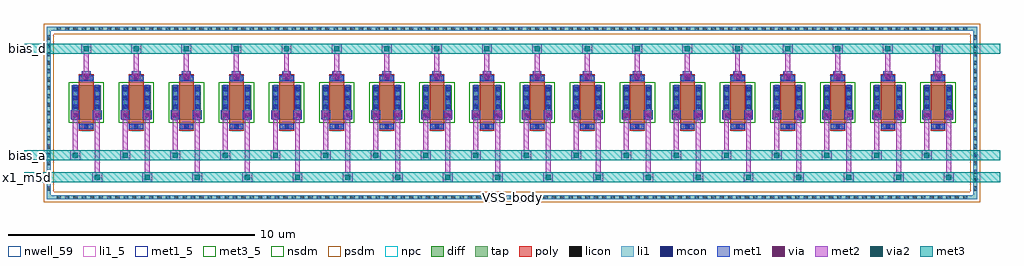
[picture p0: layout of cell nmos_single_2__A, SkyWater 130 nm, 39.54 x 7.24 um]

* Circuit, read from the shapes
.subckt nmos_single_2__A VSS_body bias_a bias_d x1_m5d
XM1 x1_m5d bias_d bias_a VSS_body sky130_fd_pr__nfet_01v8 w=1.4 l=0.6 m=18
.ends

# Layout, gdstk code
import gdstk
lib = gdstk.Library(unit=1e-6, precision=1e-09)
def R(c, l, rs):  # rectangles x0, y0, x1, y1
    for r in rs: c.add(gdstk.rectangle(r[:2], r[2:], *l))
def A(c, l, x, y, w, h, nx, ny, dx, dy):  # array of equal rectangles
    R(c, l, [(x+i*dx, y+j*dy, x+i*dx+w, y+j*dy+h) for i in range(nx) for j in range(ny)])
nwell_59 = (64, 59)
diff = (65, 20)
tap = (65, 44)
poly = (66, 20)
licon = (66, 44)
li1_5 = (67, 5)
li1 = (67, 20)
mcon = (67, 44)
met1_5 = (68, 5)
met1 = (68, 20)
via = (68, 44)
met2 = (69, 20)
via2 = (69, 44)
met3_5 = (70, 5)
met3 = (70, 20)
nsdm = (93, 44)
psdm = (94, 20)
npc = (95, 20)

sky130_fd_pr__nfet_01v8_ = lib.new_cell('sky130_fd_pr__nfet_01v8_KCM6UP')
R(sky130_fd_pr__nfet_01v8_, diff, [(-0.59,-0.7,0.59,0.7)])
R(sky130_fd_pr__nfet_01v8_, poly, [(-0.3,-1.14,0.3,1.14)])
A(sky130_fd_pr__nfet_01v8_, licon, -0.53, -0.595, 0.17, 0.17, 1, 4, 0, 0.34)
A(sky130_fd_pr__nfet_01v8_, licon, 0.36, -0.595, 0.17, 0.17, 1, 4, 0, 0.34)
R(sky130_fd_pr__nfet_01v8_, licon, [(-0.085,-1.06,0.085,-0.89), (-0.085,0.89,0.085,1.06)])
R(sky130_fd_pr__nfet_01v8_, li1, [(-0.3,-1.06,0.3,-0.89), (-0.53,-0.72,-0.36,0.72), (0.36,-0.72,0.53,0.72), (-0.3,0.89,0.3,1.06)])
A(sky130_fd_pr__nfet_01v8_, mcon, -0.53, -0.625, 0.17, 0.17, 1, 4, 0, 0.36)
A(sky130_fd_pr__nfet_01v8_, mcon, 0.36, -0.625, 0.17, 0.17, 1, 4, 0, 0.36)
R(sky130_fd_pr__nfet_01v8_, mcon, [(-0.085,-1.06,0.085,-0.89), (-0.085,0.89,0.085,1.06)])
R(sky130_fd_pr__nfet_01v8_, met1, [(-0.28,-1.09,0.28,-0.86), (-0.56,-0.7,-0.33,0.7), (0.33,-0.7,0.56,0.7), (-0.28,0.86,0.28,1.09)])
R(sky130_fd_pr__nfet_01v8_, nsdm, [(-0.715,-0.825,0.715,0.825)])
R(sky130_fd_pr__nfet_01v8_, npc, [(-0.185,-1.16,0.185,-0.79), (-0.185,0.79,0.185,1.16)])
sky130_fd_pr__nfet_01v8_.add(gdstk.Label('D', (-0.445,0), layer=67, texttype=5))
sky130_fd_pr__nfet_01v8_.add(gdstk.Label('S', (0.445,0), layer=67, texttype=5))
sky130_fd_pr__nfet_01v8_.add(gdstk.Label('G', (0,0.975), layer=67, texttype=5))

nfet_01v8_w1p4_l0p6_m18_ = lib.new_cell('nfet_01v8_W1p4_L0p6_m18__nf1_gboth_sdfull_ng')
R(nfet_01v8_w1p4_l0p6_m18_, nwell_59, [(0.05,1.09,0.15,1.19)])
R(nfet_01v8_w1p4_l0p6_m18_, met1_5, [(0.03,1.14,0.26,1.34), (0.92,1.14,1.15,1.34), (0.31,2,0.87,2.23)])
R(nfet_01v8_w1p4_l0p6_m18_, met1, [(0.03,1.14,0.26,1.34), (0.92,1.14,1.15,1.34), (0.31,2,0.87,2.23)])
nfet_01v8_w1p4_l0p6_m18_.add(gdstk.Reference(sky130_fd_pr__nfet_01v8_, (0.59,1.14)))
nfet_01v8_w1p4_l0p6_m18_.add(gdstk.Label('D', (0.145,1.24), layer=68, texttype=5))
nfet_01v8_w1p4_l0p6_m18_.add(gdstk.Label('S', (1.035,1.24), layer=68, texttype=5))
nfet_01v8_w1p4_l0p6_m18_.add(gdstk.Label('G', (0.59,2.115), layer=68, texttype=5))
nfet_01v8_w1p4_l0p6_m18_.add(gdstk.Label('B', (0.1,1.14), layer=64, texttype=59))

nmos_single_2__a = lib.new_cell('nmos_single_2__A')
R(nmos_single_2__a, tap, [(-0.885,-2.785,36.825,-2.615), (-0.885,-2.615,-0.715,4.035), (36.655,-2.615,36.825,4.035), (-0.885,4.035,36.825,4.205)])
A(nmos_single_2__a, licon, -0.475, -2.785, 0.17, 0.17, 109, 2, 0.34, 6.82)
A(nmos_single_2__a, licon, -0.885, -2.435, 0.17, 0.17, 1, 19, 0, 0.34)
A(nmos_single_2__a, licon, 36.655, -2.435, 0.17, 0.17, 1, 19, 0, 0.34)
R(nmos_single_2__a, li1_5, [(17.92,-2.75,18.02,-2.65)])
R(nmos_single_2__a, li1, [(-0.885,-2.785,36.825,-2.615), (-0.885,-2.615,-0.715,4.035), (36.655,-2.615,36.825,4.035), (-0.885,4.035,36.825,4.205)])
A(nmos_single_2__a, met1, 0.535, 2.05, 0.36, 0.36, 18, 1, 2.03, 0)
R(nmos_single_2__a, met1, [(0.09,0.46,0.45,0.82), (0.98,0.46,1.34,0.82), (2.12,0.46,2.48,0.82), (3.01,0.46,3.37,0.82), (4.15,0.46,4.51,0.82), (5.04,0.46,5.4,0.82), (6.18,0.46,6.54,0.82), (7.07,0.46,7.43,0.82), (8.21,0.46,8.57,0.82), (9.1,0.46,9.46,0.82), (10.24,0.46,10.6,0.82), (11.13,0.46,11.49,0.82), (12.27,0.46,12.63,0.82), (13.16,0.46,13.52,0.82), (14.3,0.46,14.66,0.82), (15.19,0.46,15.55,0.82), (16.33,0.46,16.69,0.82), (17.22,0.46,17.58,0.82), (18.36,0.46,18.72,0.82), (19.25,0.46,19.61,0.82), (20.39,0.46,20.75,0.82), (21.28,0.46,21.64,0.82), (22.42,0.46,22.78,0.82), (23.31,0.46,23.67,0.82), (24.45,0.46,24.81,0.82), (25.34,0.46,25.7,0.82), (26.48,0.46,26.84,0.82), (27.37,0.46,27.73,0.82), (28.51,0.46,28.87,0.82), (29.4,0.46,29.76,0.82), (30.54,0.46,30.9,0.82), (31.43,0.46,31.79,0.82), (32.57,0.46,32.93,0.82), (33.46,0.46,33.82,0.82), (34.6,0.46,34.96,0.82), (35.49,0.46,35.85,0.82)])
A(nmos_single_2__a, via, 0.64, 2.155, 0.15, 0.15, 18, 1, 2.03, 0)
R(nmos_single_2__a, via, [(0.195,0.565,0.345,0.715), (1.085,0.565,1.235,0.715), (2.225,0.565,2.375,0.715), (3.115,0.565,3.265,0.715), (4.255,0.565,4.405,0.715), (5.145,0.565,5.295,0.715), (6.285,0.565,6.435,0.715), (7.175,0.565,7.325,0.715), (8.315,0.565,8.465,0.715), (9.205,0.565,9.355,0.715), (10.345,0.565,10.495,0.715), (11.235,0.565,11.385,0.715), (12.375,0.565,12.525,0.715), (13.265,0.565,13.415,0.715), (14.405,0.565,14.555,0.715), (15.295,0.565,15.445,0.715), (16.435,0.565,16.585,0.715), (17.325,0.565,17.475,0.715), (18.465,0.565,18.615,0.715), (19.355,0.565,19.505,0.715), (20.495,0.565,20.645,0.715), (21.385,0.565,21.535,0.715), (22.525,0.565,22.675,0.715), (23.415,0.565,23.565,0.715), (24.555,0.565,24.705,0.715), (25.445,0.565,25.595,0.715), (26.585,0.565,26.735,0.715), (27.475,0.565,27.625,0.715), (28.615,0.565,28.765,0.715), (29.505,0.565,29.655,0.715), (30.645,0.565,30.795,0.715), (31.535,0.565,31.685,0.715), (32.675,0.565,32.825,0.715), (33.565,0.565,33.715,0.715), (34.705,0.565,34.855,0.715), (35.595,0.565,35.745,0.715)])
A(nmos_single_2__a, met2, 0.96, -2.1, 0.4, 0.4, 18, 1, 2.03, 0)
A(nmos_single_2__a, met2, 1.06, -1.7, 0.2, 2.18, 18, 1, 2.03, 0)
A(nmos_single_2__a, met2, 0.07, -1.2, 0.4, 0.4, 18, 1, 2.03, 0)
A(nmos_single_2__a, met2, 0.17, -0.8, 0.2, 1.28, 18, 1, 2.03, 0)
A(nmos_single_2__a, met2, 0.585, 2.07, 0.26, 0.32, 18, 1, 2.03, 0)
A(nmos_single_2__a, met2, 0.615, 2.39, 0.2, 0.73, 18, 1, 2.03, 0)
A(nmos_single_2__a, met2, 0.515, 3.12, 0.4, 0.4, 18, 1, 2.03, 0)
R(nmos_single_2__a, met2, [(0.14,0.48,0.4,0.8), (1.03,0.48,1.29,0.8), (2.17,0.48,2.43,0.8), (3.06,0.48,3.32,0.8), (4.2,0.48,4.46,0.8), (5.09,0.48,5.35,0.8), (6.23,0.48,6.49,0.8), (7.12,0.48,7.38,0.8), (8.26,0.48,8.52,0.8), (9.15,0.48,9.41,0.8), (10.29,0.48,10.55,0.8), (11.18,0.48,11.44,0.8), (12.32,0.48,12.58,0.8), (13.21,0.48,13.47,0.8), (14.35,0.48,14.61,0.8), (15.24,0.48,15.5,0.8), (16.38,0.48,16.64,0.8), (17.27,0.48,17.53,0.8), (18.41,0.48,18.67,0.8), (19.3,0.48,19.56,0.8), (20.44,0.48,20.7,0.8), (21.33,0.48,21.59,0.8), (22.47,0.48,22.73,0.8), (23.36,0.48,23.62,0.8), (24.5,0.48,24.76,0.8), (25.39,0.48,25.65,0.8), (26.53,0.48,26.79,0.8), (27.42,0.48,27.68,0.8), (28.56,0.48,28.82,0.8), (29.45,0.48,29.71,0.8), (30.59,0.48,30.85,0.8), (31.48,0.48,31.74,0.8), (32.62,0.48,32.88,0.8), (33.51,0.48,33.77,0.8), (34.65,0.48,34.91,0.8), (35.54,0.48,35.8,0.8)])
A(nmos_single_2__a, via2, 1.06, -2, 0.2, 0.2, 18, 1, 2.03, 0)
A(nmos_single_2__a, via2, 0.17, -1.1, 0.2, 0.2, 18, 1, 2.03, 0)
A(nmos_single_2__a, via2, 0.615, 3.22, 0.2, 0.2, 18, 1, 2.03, 0)
R(nmos_single_2__a, met3_5, [(-1.7,-1.95,-1.6,-1.85), (-1.7,-1.05,-1.6,-0.95), (-1.7,3.27,-1.6,3.37)])
R(nmos_single_2__a, met3, [(-1.8,-2.1,37.74,-1.7), (-1.8,-1.2,37.74,-0.8), (-1.8,3.12,37.74,3.52)])
R(nmos_single_2__a, psdm, [(-1.01,-2.91,36.95,-2.49), (-1.01,-2.49,-0.59,3.91), (36.53,-2.49,36.95,3.91), (-1.01,3.91,36.95,4.33)])
nmos_single_2__a.add(gdstk.Reference(nfet_01v8_w1p4_l0p6_m18_, (34.64,0)))
nmos_single_2__a.add(gdstk.Reference(nfet_01v8_w1p4_l0p6_m18_, (32.61,0)))
nmos_single_2__a.add(gdstk.Reference(nfet_01v8_w1p4_l0p6_m18_, (30.58,0)))
nmos_single_2__a.add(gdstk.Reference(nfet_01v8_w1p4_l0p6_m18_, (28.55,0)))
nmos_single_2__a.add(gdstk.Reference(nfet_01v8_w1p4_l0p6_m18_, (26.52,0)))
nmos_single_2__a.add(gdstk.Reference(nfet_01v8_w1p4_l0p6_m18_, (24.49,0)))
nmos_single_2__a.add(gdstk.Reference(nfet_01v8_w1p4_l0p6_m18_, (22.46,0)))
nmos_single_2__a.add(gdstk.Reference(nfet_01v8_w1p4_l0p6_m18_, (20.43,0)))
nmos_single_2__a.add(gdstk.Reference(nfet_01v8_w1p4_l0p6_m18_, (18.4,0)))
nmos_single_2__a.add(gdstk.Reference(nfet_01v8_w1p4_l0p6_m18_, (16.37,0)))
nmos_single_2__a.add(gdstk.Reference(nfet_01v8_w1p4_l0p6_m18_, (14.34,0)))
nmos_single_2__a.add(gdstk.Reference(nfet_01v8_w1p4_l0p6_m18_, (12.31,0)))
nmos_single_2__a.add(gdstk.Reference(nfet_01v8_w1p4_l0p6_m18_, (10.28,0)))
nmos_single_2__a.add(gdstk.Reference(nfet_01v8_w1p4_l0p6_m18_, (8.25,0)))
nmos_single_2__a.add(gdstk.Reference(nfet_01v8_w1p4_l0p6_m18_, (6.22,0)))
nmos_single_2__a.add(gdstk.Reference(nfet_01v8_w1p4_l0p6_m18_, (4.19,0)))
nmos_single_2__a.add(gdstk.Reference(nfet_01v8_w1p4_l0p6_m18_, (2.16,0)))
nmos_single_2__a.add(gdstk.Reference(nfet_01v8_w1p4_l0p6_m18_, (0.13,0)))
nmos_single_2__a.add(gdstk.Label('bias_d', (-1.65,3.32), layer=70, texttype=5))
nmos_single_2__a.add(gdstk.Label('bias_a', (-1.65,-1), layer=70, texttype=5))
nmos_single_2__a.add(gdstk.Label('x1_m5d', (-1.65,-1.9), layer=70, texttype=5))
nmos_single_2__a.add(gdstk.Label('VSS_body', (17.97,-2.7), layer=67, texttype=5))

lib.write_gds('nmos_single_2__A.gds')
